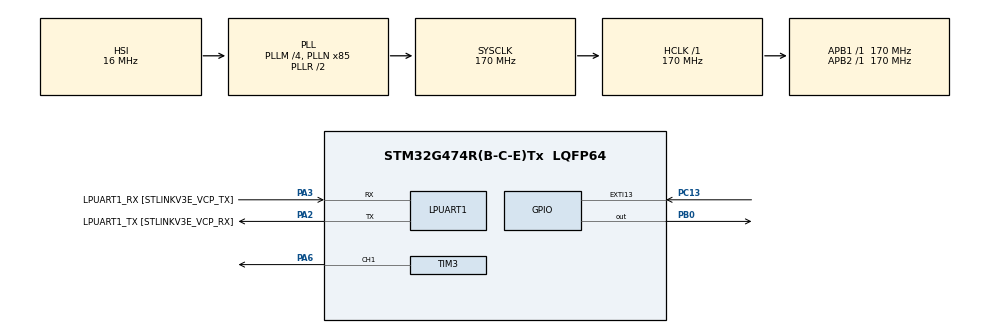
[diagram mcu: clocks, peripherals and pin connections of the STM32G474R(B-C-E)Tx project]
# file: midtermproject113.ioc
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Mcu.Family=STM32G4
Mcu.Name=STM32G474R(B-C-E)Tx
Mcu.Package=LQFP64
NVIC.EXTI15_10_IRQn=true\:0\:0\:false\:false\:true\:true\:true\:true
NVIC.LPUART1_IRQn=true\:0\:0\:false\:false\:true\:true\:true\:true
NVIC.PriorityGroup=NVIC_PRIORITYGROUP_4
PA13.GPIO_Label=T_SWDIO
PA13.Signal=SYS_JTMS-SWDIO
PA14.GPIO_Label=T_SWCLK
PA14.Signal=SYS_JTCK-SWCLK
PA2.GPIO_Label=LPUART1_TX [STLINKV3E_VCP_RX]
PA2.Mode=Asynchronous
PA2.Signal=LPUART1_TX
PA3.GPIO_Label=LPUART1_RX [STLINKV3E_VCP_TX]
PA3.Mode=Asynchronous
PA3.Signal=LPUART1_RX
PA6.Signal=S_TIM3_CH1
PB0.Signal=GPIO_Output
PB3.GPIO_Label=T_SWO
PB3.Signal=SYS_JTDO-SWO
PC13.Signal=GPXTI13
PC14-OSC32_IN.GPIO_Label=RCC_OSC32_IN
PC14-OSC32_IN.Signal=RCC_OSC32_IN
PC15-OSC32_OUT.GPIO_Label=RCC_OSC32_OUT
PC15-OSC32_OUT.Signal=RCC_OSC32_OUT
PF0-OSC_IN.GPIO_Label=RCC_OSC_IN
PF0-OSC_IN.Signal=RCC_OSC_IN
PF1-OSC_OUT.GPIO_Label=RCC_OSC_OUT
PF1-OSC_OUT.Signal=RCC_OSC_OUT
ProjectManager.HeapSize=0x200
ProjectManager.StackSize=0x400
ProjectManager.TargetToolchain=STM32CubeIDE
RCC.ADC12Freq_Value=170000000
RCC.ADC345Freq_Value=170000000
RCC.AHBFreq_Value=170000000
RCC.APB1Freq_Value=170000000
RCC.APB1TimFreq_Value=170000000
RCC.APB2Freq_Value=170000000
RCC.APB2TimFreq_Value=170000000
RCC.CortexFreq_Value=170000000
RCC.EXTERNAL_CLOCK_VALUE=12288000
RCC.HCLKFreq_Value=170000000
RCC.HSE_VALUE=24000000
RCC.HSI48_VALUE=48000000
RCC.HSI_VALUE=16000000
RCC.LSE_VALUE=32768
RCC.PLLM=RCC_PLLM_DIV4
RCC.PLLN=85
RCC.RTCClockSelection=RCC_RTCCLKSOURCE_LSE
RCC.SYSCLKFreq_VALUE=170000000
RCC.SYSCLKSource=RCC_SYSCLKSOURCE_PLLCLK
RCC.USBFreq_Value=170000000
RCC.VCOOutputFreq_Value=340000000
SH.S_TIM3_CH1.0=TIM3_CH1,PWM Generation1 CH1
TIM3.Channel-PWM\ Generation1\ CH1=TIM_CHANNEL_1
TIM3.Prescaler=169
VP_SYS_VS_DBSignals.Mode=DisableDeadBatterySignals
VP_TIM3_VS_ClockSourceINT.Mode=Internal
board=NUCLEO-G474RE

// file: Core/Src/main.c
/* USER CODE BEGIN Header */
/**
  ******************************************************************************
  * @file           : main.c
  * @brief          : Main program body
  ******************************************************************************
  */
/* USER CODE END Header */
#include "main.h"

/* USER CODE BEGIN Includes */
#include <stdio.h>
#include <string.h>
#include <stdlib.h>
#include <math.h>
/* USER CODE END Includes */

/* USER CODE BEGIN PTD */
// 定義有限狀態機 (FSM) 狀態
typedef enum {
    STATE_METRONOME_NORMAL = 0, // 模式 1: 一般節拍器模式
    STATE_METRONOME_TAP    = 1  // 模式 2: 節拍計算模式 (Tap Tempo)
} SystemState_t;
/* USER CODE END PTD */

/* USER CODE BEGIN PD */
#define DEBOUNCE_TIME_MS   50U    // 按鈕防彈跳時間 (50ms)
#define LED_FLASH_ON_MS    60U    // 每次節拍閃爍點亮時間 (60ms)
#define PWM_MAX_DUTY       800U   // PWM 閃爍亮度 (0 ~ 999)
#define TAP_SETTLE_MS      2000U  // 停手超過 2 秒未按按鈕，自動結算最終平均 BPM
/* USER CODE END PD */

UART_HandleTypeDef hlpuart1;
TIM_HandleTypeDef htim3;

/* USER CODE BEGIN PV */
// --- FSM 狀態變數 ---
volatile SystemState_t current_state = STATE_METRONOME_NORMAL;

// --- 節拍器核心變數 (Non-blocking) ---
volatile uint32_t current_bpm = 120;         // 預設 120 BPM
volatile uint32_t target_period_ms = 500;    // 60000 / 120 = 500ms
uint32_t last_beat_tick = 0;                 // 上次節拍觸發時間點
uint8_t  beat_led_active = 0;                // 節拍 LED 是否處於點亮階段

// --- 誤差偵測變數 ---
volatile int32_t  system_period_error_ms = 0; // 系統排程週期誤差 (實測週期 - 理論週期)
volatile uint32_t actual_period_ms = 500;     // 實測閃爍週期
volatile int32_t  user_tap_error_ms = 0;      // 使用者在模式1跟拍的誤差

// --- EXTI 按鈕、防彈跳與連續打拍結算變數 ---
volatile uint8_t  btn_event_flag = 0;         // 中斷觸發旗標
volatile uint32_t btn_irq_tick = 0;           // 中斷當下時間戳記
uint32_t last_valid_btn_tick = 0;             // 上次有效按壓時間 (防彈跳紀錄)

uint32_t last_tap_calc_tick = 0;              // 模式2上次按按鈕的時間戳記
uint32_t tap_interval_sum = 0;                // 模式2累積的總間隔時間 (ms)
uint8_t  tap_count = 0;                       // 模式2目前連續按壓次數
uint8_t  tap_in_progress = 0;                 // 是否正在進行打拍輸入 (等待停手結算)

// --- LPUART1 非阻塞接收緩衝區 ---
uint8_t rx_byte;
char    rx_buffer[64];
uint8_t rx_index = 0;
volatile uint8_t cmd_ready_flag = 0;
char    tx_buffer[128];
/* USER CODE END PV */

void SystemClock_Config(void);
static void MX_GPIO_Init(void);
static void MX_LPUART1_UART_Init(void);
static void MX_TIM3_Init(void);
/* USER CODE BEGIN PFP */
void Process_UART_Command(char *cmd);
void Update_FSM_Indicators(void);
void Send_UART_String(const char *str);
void Reset_Tap_Calculator(void);
/* USER CODE END PFP */

/* USER CODE BEGIN 0 */
// 發送字串輔助函式
void Send_UART_String(const char *str) {
    HAL_UART_Transmit(&hlpuart1, (uint8_t *)str, strlen(str), 50);
}

// 重置模式 2 打拍累計器
void Reset_Tap_Calculator(void) {
    last_tap_calc_tick = 0;
    tap_interval_sum = 0;
    tap_count = 0;
    tap_in_progress = 0;
}

// 更新模式指示綠燈 (PB0): 模式 1 暗、模式 2 亮
void Update_FSM_Indicators(void) {
    if (current_state == STATE_METRONOME_TAP) {
        HAL_GPIO_WritePin(GPIOB, GPIO_PIN_0, GPIO_PIN_SET);   // 綠燈亮
    } else {
        HAL_GPIO_WritePin(GPIOB, GPIO_PIN_0, GPIO_PIN_RESET); // 綠燈暗
    }
}

// 解析來自 PySerial 的指令
void Process_UART_Command(char *cmd) {
    // 去除結尾的 \r 或 \n
    cmd[strcspn(cmd, "\r\n")] = 0;

    if (strcmp(cmd, "M1") == 0) {
        current_state = STATE_METRONOME_NORMAL;
        Reset_Tap_Calculator();
        Update_FSM_Indicators();
        snprintf(tx_buffer, sizeof(tx_buffer), "[FSM] Switched to Mode 1 (Normal Metronome) | BPM: %lu\r\n", current_bpm);
        Send_UART_String(tx_buffer);
    }
    else if (strcmp(cmd, "M2") == 0) {
        current_state = STATE_METRONOME_TAP;
        Reset_Tap_Calculator();
        Update_FSM_Indicators();
        snprintf(tx_buffer, sizeof(tx_buffer), "[FSM] Switched to Mode 2 (Tap Tempo) | Tap button multiple times, wait 2s to settle.\r\n");
        Send_UART_String(tx_buffer);
    }
    else if (strncmp(cmd, "BPM:", 4) == 0) {
        int new_bpm = atoi(cmd + 4);
        if (new_bpm >= 30 && new_bpm <= 300) {
            current_bpm = (uint32_t)new_bpm;
            target_period_ms = 60000UL / current_bpm;
            snprintf(tx_buffer, sizeof(tx_buffer), "[SET] Target BPM: %lu (Period: %lu ms)\r\n", current_bpm, target_period_ms);
            Send_UART_String(tx_buffer);
        } else {
            Send_UART_String("[WARN] BPM out of range (Valid: 30~300)\r\n");
        }
    }
    else if (strcmp(cmd, "ERR") == 0) {
        uint32_t actual_bpm_int = (actual_period_ms > 0) ? (60000UL / actual_period_ms) : 0;
        int32_t bpm_err_int = (int32_t)actual_bpm_int - (int32_t)current_bpm;
        snprintf(tx_buffer, sizeof(tx_buffer),
                 "[ERROR REPORT] Target: %lu BPM (%lu ms) | Actual: %lu BPM (%lu ms) | SysErr: %ld ms (%ld BPM) | TapErr: %ld ms\r\n",
                 current_bpm, target_period_ms, actual_bpm_int, actual_period_ms,
                 system_period_error_ms, bpm_err_int, user_tap_error_ms);
        Send_UART_String(tx_buffer);
    }
    else {
        snprintf(tx_buffer, sizeof(tx_buffer), "[UNKNOWN CMD] %s (Use M1, M2, BPM:xxx, ERR)\r\n", cmd);
        Send_UART_String(tx_buffer);
    }
}

// EXTI 外部中斷 Callback (處理 PC13 按鈕觸發)
void HAL_GPIO_EXTI_Callback(uint16_t GPIO_Pin) {
    if (GPIO_Pin == GPIO_PIN_13) {
        btn_irq_tick = HAL_GetTick();
        btn_event_flag = 1; // 交由主迴圈做非阻塞防彈跳與邏輯處理
    }
}

// UART 非阻塞接收 Callback
void HAL_UART_RxCpltCallback(UART_HandleTypeDef *huart) {
    if (huart->Instance == LPUART1) {
        if (rx_byte == '\n') {
            rx_buffer[rx_index] = '\0';
            rx_index = 0;
            cmd_ready_flag = 1; // 通知主迴圈解析指令
        } else {
            if (rx_index < sizeof(rx_buffer) - 1) {
                rx_buffer[rx_index++] = (char)rx_byte;
            }
        }
        HAL_UART_Receive_IT(&hlpuart1, &rx_byte, 1);
    }
}
/* USER CODE END 0 */

int main(void)
{
  /* MCU Configuration--------------------------------------------------------*/
  HAL_Init();
  SystemClock_Config();

  /* Initialize all configured peripherals */
  MX_GPIO_Init();
  MX_LPUART1_UART_Init();
  MX_TIM3_Init();

  /* USER CODE BEGIN 2 */
  // 強制將 LPUART1 鮑率設為 115200
  hlpuart1.Init.BaudRate = 115200;
  HAL_UART_Init(&hlpuart1);

  // 強制將 TIM3 週期設為 999 (1000-1)
  __HAL_TIM_SET_AUTORELOAD(&htim3, 999);

  // 1. 啟動 TIM3_CH1 (PA6) 的 PWM 輸出
  HAL_TIM_PWM_Start(&htim3, TIM_CHANNEL_1);
  __HAL_TIM_SET_COMPARE(&htim3, TIM_CHANNEL_1, PWM_MAX_DUTY);

  // 2. 初始化模式指示綠燈 (預設 Mode 1 熄滅)
  Update_FSM_Indicators();

  // 3. 啟動 LPUART1 非阻塞中斷接收
  HAL_UART_Receive_IT(&hlpuart1, &rx_byte, 1);

  last_beat_tick = HAL_GetTick();
  beat_led_active = 1;
  Send_UART_String("=== STM32G474 Smart Metronome Ready ===\r\n");
  /* USER CODE END 2 */

  /* Infinite loop */
  /* USER CODE BEGIN WHILE */
  while (1)
  {
      uint32_t now = HAL_GetTick();

      // =========================================================
      // 1. 非阻塞處理 LPUART1 指令
      // =========================================================
      if (cmd_ready_flag) {
          cmd_ready_flag = 0;
          Process_UART_Command(rx_buffer);
      }

      // =========================================================
      // 2. 非阻塞按鈕防彈跳 (Debounce) 與打拍收集
      // =========================================================
      if (btn_event_flag) {
          btn_event_flag = 0;
          // 軟體防彈跳：距離上次有效按壓必須大於 DEBOUNCE_TIME_MS (50ms)
          if ((btn_irq_tick - last_valid_btn_tick) >= DEBOUNCE_TIME_MS) {
              last_valid_btn_tick = btn_irq_tick;

              switch (current_state) {
                  case STATE_METRONOME_NORMAL: {
                      // 模式 1：計算使用者跟拍時間與最近一次節拍點的誤差
                      uint32_t elapsed_since_beat = btn_irq_tick - last_beat_tick;
                      if (elapsed_since_beat <= (target_period_ms / 2)) {
                          user_tap_error_ms = (int32_t)elapsed_since_beat; // 偏慢 (+)
                      } else {
                          user_tap_error_ms = (int32_t)elapsed_since_beat - (int32_t)target_period_ms; // 偏快 (-)
                      }
                      break;
                  }

                  case STATE_METRONOME_TAP: {
                      // 模式 2：只收集每次按壓間隔，不立即回傳洗版
                      if (tap_count == 0) {
                          // 第一下按壓：啟動計時
                          tap_count = 1;
                          tap_interval_sum = 0;
                          tap_in_progress = 1;
                      } else {
                          uint32_t interval_ms = btn_irq_tick - last_tap_calc_tick;
                          // 檢查單次間隔是否在合理範圍 (30 ~ 300 BPM 對應 200ms ~ 2000ms)
                          if (interval_ms >= 200 && interval_ms <= 2000) {
                              tap_interval_sum += interval_ms;
                              tap_count++;
                          } else {
                              // 若間隔異常，將這一下視為新的第一下重新計算
                              tap_count = 1;
                              tap_interval_sum = 0;
                          }
                      }
                      last_tap_calc_tick = btn_irq_tick;

                      // 打拍當下讓節拍燈跟著閃一下作為視覺回饋
                      last_beat_tick = now;
                      beat_led_active = 1;
                      __HAL_TIM_SET_COMPARE(&htim3, TIM_CHANNEL_1, PWM_MAX_DUTY);
                      break;
                  }
              }
          }
      }

      // =========================================================
      // 3. 模式 2 停手自動結算機制 (超過 2 秒未繼續按壓才結算並回報)
      // =========================================================
      if (current_state == STATE_METRONOME_TAP && tap_in_progress) {
          if ((now - last_tap_calc_tick) >= TAP_SETTLE_MS) {
              if (tap_count >= 2) {
                  // 計算平均間隔 = 總間隔時間 / (按壓次數 - 1)
                  uint32_t avg_interval_ms = tap_interval_sum / (tap_count - 1);
                  current_bpm = 60000UL / avg_interval_ms;
                  target_period_ms = avg_interval_ms;

                  // 停手後只回報這一次最終結算結果！
                  snprintf(tx_buffer, sizeof(tx_buffer),
                           "[TAP RESULT] Taps: %u | Avg Interval: %lu ms -> Final BPM: %lu\r\n",
                           tap_count, avg_interval_ms, current_bpm);
                  Send_UART_String(tx_buffer);
              } else {
                  // 若只按了 1 下就停手，提示次數不足並放棄本次輸入
                  Send_UART_String("[TAP CANCEL] Only 1 tap detected, need at least 2 taps.\r\n");
              }
              // 結算完畢，重置打拍累計器，等待下一輪打拍
              Reset_Tap_Calculator();
          }
      }

      // =========================================================
      // 4. 非阻塞 PWM 節拍器閃爍與誤差偵測引擎
      // =========================================================
      uint32_t elapsed = now - last_beat_tick;

      // 在正在打拍輸入的過程中，暫停原本自動固定週期的閃爍，改由按鈕同步點亮；停手結算後立即恢復新 BPM 閃爍
      if (!tap_in_progress && (elapsed >= target_period_ms)) {
          actual_period_ms = elapsed;
          system_period_error_ms = (int32_t)actual_period_ms - (int32_t)target_period_ms;
          last_beat_tick = now;

          beat_led_active = 1;
          __HAL_TIM_SET_COMPARE(&htim3, TIM_CHANNEL_1, PWM_MAX_DUTY); // PWM 點亮節拍燈
      }
      else if (beat_led_active && (elapsed >= LED_FLASH_ON_MS)) {
          beat_led_active = 0;
          __HAL_TIM_SET_COMPARE(&htim3, TIM_CHANNEL_1, 0);            // PWM 熄滅節拍燈
      }

    /* USER CODE END WHILE */

  }
}

void SystemClock_Config(void)
{
  RCC_OscInitTypeDef RCC_OscInitStruct = {0};
  RCC_ClkInitTypeDef RCC_ClkInitStruct = {0};

  HAL_PWREx_ControlVoltageScaling(PWR_REGULATOR_VOLTAGE_SCALE1_BOOST);

  RCC_OscInitStruct.OscillatorType = RCC_OSCILLATORTYPE_HSI;
  RCC_OscInitStruct.HSIState = RCC_HSI_ON;
  RCC_OscInitStruct.HSICalibrationValue = RCC_HSICALIBRATION_DEFAULT;
  RCC_OscInitStruct.PLL.PLLState = RCC_PLL_ON;
  RCC_OscInitStruct.PLL.PLLSource = RCC_PLLSOURCE_HSI;
  RCC_OscInitStruct.PLL.PLLM = RCC_PLLM_DIV4;
  RCC_OscInitStruct.PLL.PLLN = 85;
  RCC_OscInitStruct.PLL.PLLP = RCC_PLLP_DIV2;
  RCC_OscInitStruct.PLL.PLLQ = RCC_PLLQ_DIV2;
  RCC_OscInitStruct.PLL.PLLR = RCC_PLLR_DIV2;
  if (HAL_RCC_OscConfig(&RCC_OscInitStruct) != HAL_OK)
  {
    Error_Handler();
  }

  RCC_ClkInitStruct.ClockType = RCC_CLOCKTYPE_HCLK|RCC_CLOCKTYPE_SYSCLK
                              |RCC_CLOCKTYPE_PCLK1|RCC_CLOCKTYPE_PCLK2;
  RCC_ClkInitStruct.SYSCLKSource = RCC_SYSCLKSOURCE_PLLCLK;
  RCC_ClkInitStruct.AHBCLKDivider = RCC_SYSCLK_DIV1;
  RCC_ClkInitStruct.APB1CLKDivider = RCC_HCLK_DIV1;
  RCC_ClkInitStruct.APB2CLKDivider = RCC_HCLK_DIV1;

  if (HAL_RCC_ClockConfig(&RCC_ClkInitStruct, FLASH_LATENCY_4) != HAL_OK)
  {
    Error_Handler();
  }
}

static void MX_LPUART1_UART_Init(void)
{
  hlpuart1.Instance = LPUART1;
  hlpuart1.Init.BaudRate = 115200;
  hlpuart1.Init.WordLength = UART_WORDLENGTH_8B;
  hlpuart1.Init.StopBits = UART_STOPBITS_1;
  hlpuart1.Init.Parity = UART_PARITY_NONE;
  hlpuart1.Init.Mode = UART_MODE_TX_RX;
  hlpuart1.Init.HwFlowCtl = UART_HWCONTROL_NONE;
  hlpuart1.Init.OneBitSampling = UART_ONE_BIT_SAMPLE_DISABLE;
  hlpuart1.Init.ClockPrescaler = UART_PRESCALER_DIV1;
  hlpuart1.AdvancedInit.AdvFeatureInit = UART_ADVFEATURE_NO_INIT;
  if (HAL_UART_Init(&hlpuart1) != HAL_OK)
  {
    Error_Handler();
  }
  if (HAL_UARTEx_SetTxFifoThreshold(&hlpuart1, UART_TXFIFO_THRESHOLD_1_8) != HAL_OK)
  {
    Error_Handler();
  }
  if (HAL_UARTEx_SetRxFifoThreshold(&hlpuart1, UART_RXFIFO_THRESHOLD_1_8) != HAL_OK)
  {
    Error_Handler();
  }
  if (HAL_UARTEx_DisableFifoMode(&hlpuart1) != HAL_OK)
  {
    Error_Handler();
  }
}

static void MX_TIM3_Init(void)
{
  TIM_ClockConfigTypeDef sClockSourceConfig = {0};
  TIM_MasterConfigTypeDef sMasterConfig = {0};
  TIM_OC_InitTypeDef sConfigOC = {0};

  htim3.Instance = TIM3;
  htim3.Init.Prescaler = 169;
  htim3.Init.CounterMode = TIM_COUNTERMODE_UP;
  htim3.Init.Period = 999;
  htim3.Init.ClockDivision = TIM_CLOCKDIVISION_DIV1;
  htim3.Init.AutoReloadPreload = TIM_AUTORELOAD_PRELOAD_DISABLE;
  if (HAL_TIM_Base_Init(&htim3) != HAL_OK)
  {
    Error_Handler();
  }
  sClockSourceConfig.ClockSource = TIM_CLOCKSOURCE_INTERNAL;
  if (HAL_TIM_ConfigClockSource(&htim3, &sClockSourceConfig) != HAL_OK)
  {
    Error_Handler();
  }
  if (HAL_TIM_PWM_Init(&htim3) != HAL_OK)
  {
    Error_Handler();
  }
  sMasterConfig.MasterOutputTrigger = TIM_TRGO_RESET;
  sMasterConfig.MasterSlaveMode = TIM_MASTERSLAVEMODE_DISABLE;
  if (HAL_TIMEx_MasterConfigSynchronization(&htim3, &sMasterConfig) != HAL_OK)
  {
    Error_Handler();
  }
  sConfigOC.OCMode = TIM_OCMODE_PWM1;
  sConfigOC.Pulse = 0;
  sConfigOC.OCPolarity = TIM_OCPOLARITY_HIGH;
  sConfigOC.OCFastMode = TIM_OCFAST_DISABLE;
  if (HAL_TIM_PWM_ConfigChannel(&htim3, &sConfigOC, TIM_CHANNEL_1) != HAL_OK)
  {
    Error_Handler();
  }
  HAL_TIM_MspPostInit(&htim3);
}

static void MX_GPIO_Init(void)
{
  GPIO_InitTypeDef GPIO_InitStruct = {0};

  /* GPIO Ports Clock Enable */
  __HAL_RCC_GPIOC_CLK_ENABLE();
  __HAL_RCC_GPIOF_CLK_ENABLE();
  __HAL_RCC_GPIOA_CLK_ENABLE();
  __HAL_RCC_GPIOB_CLK_ENABLE();

  /*Configure GPIO pin Output Level */
  HAL_GPIO_WritePin(GPIOB, GPIO_PIN_0, GPIO_PIN_RESET);

  /*Configure GPIO pin : PC13 */
  GPIO_InitStruct.Pin = GPIO_PIN_13;
  GPIO_InitStruct.Mode = GPIO_MODE_IT_RISING;
  GPIO_InitStruct.Pull = GPIO_NOPULL;
  HAL_GPIO_Init(GPIOC, &GPIO_InitStruct);

  /*Configure GPIO pin : PB0 */
  GPIO_InitStruct.Pin = GPIO_PIN_0;
  GPIO_InitStruct.Mode = GPIO_MODE_OUTPUT_PP;
  GPIO_InitStruct.Pull = GPIO_NOPULL;
  GPIO_InitStruct.Speed = GPIO_SPEED_FREQ_LOW;
  HAL_GPIO_Init(GPIOB, &GPIO_InitStruct);

  /* EXTI interrupt init*/
  HAL_NVIC_SetPriority(EXTI15_10_IRQn, 0, 0);
  HAL_NVIC_EnableIRQ(EXTI15_10_IRQn);
}

void Error_Handler(void)
{
  __disable_irq();
  while (1)
  {
  }
}
